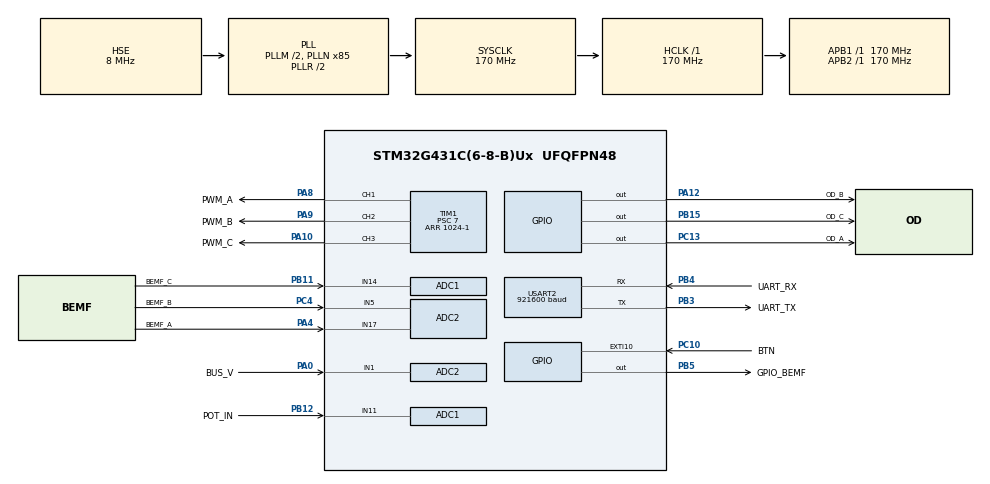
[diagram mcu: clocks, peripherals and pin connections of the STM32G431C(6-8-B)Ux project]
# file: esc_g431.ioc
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ADC1.Channel-0\#ChannelRegularConversion=ADC_CHANNEL_11
ADC1.Channel-1\#ChannelRegularConversion=ADC_CHANNEL_14
ADC1.ClockPrescaler=ADC_CLOCK_ASYNC_DIV64
ADC1.ContinuousConvMode=ENABLE
ADC1.DMAContinuousRequests=ENABLE
ADC1.EOCSelection=ADC_EOC_SEQ_CONV
ADC1.EnableInjectedConversion=ENABLE
ADC1.ExternalTrigInjecConv=ADC_EXTERNALTRIGINJEC_T1_TRGO2
ADC1.InjNumberOfConversion=1
ADC1.InjectedChannel-2\#ChannelInjectedConversion=ADC_CHANNEL_14
ADC1.InjectedOffsetNumber-2\#ChannelInjectedConversion=ADC_OFFSET_NONE
ADC1.InjectedRank-2\#ChannelInjectedConversion=1
ADC1.InjectedSamplingTime-2\#ChannelInjectedConversion=ADC_SAMPLETIME_12CYCLES_5
ADC1.NbrOfConversion=2
ADC1.NbrOfConversionFlag=1
ADC1.OffsetNumber-0\#ChannelRegularConversion=ADC_OFFSET_NONE
ADC1.OffsetNumber-1\#ChannelRegularConversion=ADC_OFFSET_NONE
ADC1.Rank-0\#ChannelRegularConversion=1
ADC1.Rank-1\#ChannelRegularConversion=2
ADC1.Rank1_Channel=ADC_CHANNEL_14
ADC1.SamplingTime-0\#ChannelRegularConversion=ADC_SAMPLETIME_12CYCLES_5
ADC1.SamplingTime-1\#ChannelRegularConversion=ADC_SAMPLETIME_12CYCLES_5
ADC1.master=1
ADC2.Channel-0\#ChannelRegularConversion=ADC_CHANNEL_1
ADC2.Channel-1\#ChannelRegularConversion=ADC_CHANNEL_5
ADC2.Channel-2\#ChannelRegularConversion=ADC_CHANNEL_17
ADC2.ClockPrescaler=ADC_CLOCK_ASYNC_DIV64
ADC2.ContinuousConvMode=ENABLE
ADC2.DMAContinuousRequests=ENABLE
ADC2.EOCSelection=ADC_EOC_SEQ_CONV
ADC2.EnableInjectedConversion=ENABLE
ADC2.ExternalTrigInjecConv=ADC_EXTERNALTRIGINJEC_T1_TRGO2
ADC2.InjNumberOfConversion=2
ADC2.InjectedChannel-3\#ChannelInjectedConversion=ADC_CHANNEL_5
ADC2.InjectedChannel-4\#ChannelInjectedConversion=ADC_CHANNEL_17
ADC2.InjectedOffsetNumber-3\#ChannelInjectedConversion=ADC_OFFSET_NONE
ADC2.InjectedOffsetNumber-4\#ChannelInjectedConversion=ADC_OFFSET_NONE
ADC2.InjectedRank-3\#ChannelInjectedConversion=1
ADC2.InjectedRank-4\#ChannelInjectedConversion=2
ADC2.InjectedSamplingTime-3\#ChannelInjectedConversion=ADC_SAMPLETIME_12CYCLES_5
ADC2.InjectedSamplingTime-4\#ChannelInjectedConversion=ADC_SAMPLETIME_12CYCLES_5
ADC2.NbrOfConversion=3
ADC2.NbrOfConversionFlag=1
ADC2.OffsetNumber-0\#ChannelRegularConversion=ADC_OFFSET_NONE
ADC2.OffsetNumber-1\#ChannelRegularConversion=ADC_OFFSET_NONE
ADC2.OffsetNumber-2\#ChannelRegularConversion=ADC_OFFSET_NONE
ADC2.Rank-0\#ChannelRegularConversion=1
ADC2.Rank-1\#ChannelRegularConversion=2
ADC2.Rank-2\#ChannelRegularConversion=3
ADC2.Rank1_Channel=ADC_CHANNEL_5
ADC2.Rank2_Channel=ADC_CHANNEL_17
ADC2.SamplingTime-0\#ChannelRegularConversion=ADC_SAMPLETIME_12CYCLES_5
ADC2.SamplingTime-1\#ChannelRegularConversion=ADC_SAMPLETIME_12CYCLES_5
ADC2.SamplingTime-2\#ChannelRegularConversion=ADC_SAMPLETIME_12CYCLES_5
Dma.ADC1.3.Direction=DMA_PERIPH_TO_MEMORY
Dma.ADC1.3.EventEnable=DISABLE
Dma.ADC1.3.Instance=DMA1_Channel4
Dma.ADC1.3.MemDataAlignment=DMA_MDATAALIGN_HALFWORD
Dma.ADC1.3.MemInc=DMA_MINC_ENABLE
Dma.ADC1.3.Mode=DMA_CIRCULAR
Dma.ADC1.3.PeriphDataAlignment=DMA_PDATAALIGN_HALFWORD
Dma.ADC1.3.PeriphInc=DMA_PINC_DISABLE
Dma.ADC1.3.Polarity=HAL_DMAMUX_REQ_GEN_RISING
Dma.ADC1.3.Priority=DMA_PRIORITY_LOW
Dma.ADC1.3.RequestNumber=1
Dma.ADC1.3.SignalID=NONE
Dma.ADC1.3.SyncEnable=DISABLE
Dma.ADC1.3.SyncPolarity=HAL_DMAMUX_SYNC_NO_EVENT
Dma.ADC1.3.SyncRequestNumber=1
Dma.ADC1.3.SyncSignalID=NONE
Dma.ADC2.4.Direction=DMA_PERIPH_TO_MEMORY
Dma.ADC2.4.EventEnable=DISABLE
Dma.ADC2.4.Instance=DMA1_Channel5
Dma.ADC2.4.MemDataAlignment=DMA_MDATAALIGN_HALFWORD
Dma.ADC2.4.MemInc=DMA_MINC_ENABLE
Dma.ADC2.4.Mode=DMA_CIRCULAR
Dma.ADC2.4.PeriphDataAlignment=DMA_PDATAALIGN_HALFWORD
Dma.ADC2.4.PeriphInc=DMA_PINC_DISABLE
Dma.ADC2.4.Polarity=HAL_DMAMUX_REQ_GEN_RISING
Dma.ADC2.4.Priority=DMA_PRIORITY_LOW
Dma.ADC2.4.RequestNumber=1
Dma.ADC2.4.SignalID=NONE
Dma.ADC2.4.SyncEnable=DISABLE
Dma.ADC2.4.SyncPolarity=HAL_DMAMUX_SYNC_NO_EVENT
Dma.ADC2.4.SyncRequestNumber=1
Dma.ADC2.4.SyncSignalID=NONE
Dma.Request0=TIM1_CH1
Dma.Request1=TIM1_CH2
Dma.Request2=TIM1_CH3
Dma.Request3=ADC1
Dma.Request4=ADC2
Dma.Request5=USART2_TX
Dma.TIM1_CH1.0.Direction=DMA_MEMORY_TO_PERIPH
Dma.TIM1_CH1.0.EventEnable=DISABLE
Dma.TIM1_CH1.0.Instance=DMA1_Channel1
Dma.TIM1_CH1.0.MemDataAlignment=DMA_MDATAALIGN_HALFWORD
Dma.TIM1_CH1.0.MemInc=DMA_MINC_ENABLE
Dma.TIM1_CH1.0.Mode=DMA_CIRCULAR
Dma.TIM1_CH1.0.PeriphDataAlignment=DMA_PDATAALIGN_HALFWORD
Dma.TIM1_CH1.0.PeriphInc=DMA_PINC_DISABLE
Dma.TIM1_CH1.0.Polarity=HAL_DMAMUX_REQ_GEN_RISING
Dma.TIM1_CH1.0.Priority=DMA_PRIORITY_VERY_HIGH
Dma.TIM1_CH1.0.RequestNumber=1
Dma.TIM1_CH1.0.SignalID=NONE
Dma.TIM1_CH1.0.SyncEnable=DISABLE
Dma.TIM1_CH1.0.SyncPolarity=HAL_DMAMUX_SYNC_NO_EVENT
Dma.TIM1_CH1.0.SyncRequestNumber=1
Dma.TIM1_CH1.0.SyncSignalID=NONE
Dma.TIM1_CH2.1.Direction=DMA_MEMORY_TO_PERIPH
Dma.TIM1_CH2.1.EventEnable=DISABLE
Dma.TIM1_CH2.1.Instance=DMA1_Channel2
Dma.TIM1_CH2.1.MemDataAlignment=DMA_MDATAALIGN_HALFWORD
Dma.TIM1_CH2.1.MemInc=DMA_MINC_ENABLE
Dma.TIM1_CH2.1.Mode=DMA_CIRCULAR
Dma.TIM1_CH2.1.PeriphDataAlignment=DMA_PDATAALIGN_HALFWORD
Dma.TIM1_CH2.1.PeriphInc=DMA_PINC_DISABLE
Dma.TIM1_CH2.1.Polarity=HAL_DMAMUX_REQ_GEN_RISING
Dma.TIM1_CH2.1.Priority=DMA_PRIORITY_VERY_HIGH
Dma.TIM1_CH2.1.RequestNumber=1
Dma.TIM1_CH2.1.SignalID=NONE
Dma.TIM1_CH2.1.SyncEnable=DISABLE
Dma.TIM1_CH2.1.SyncPolarity=HAL_DMAMUX_SYNC_NO_EVENT
Dma.TIM1_CH2.1.SyncRequestNumber=1
Dma.TIM1_CH2.1.SyncSignalID=NONE
Dma.TIM1_CH3.2.Direction=DMA_MEMORY_TO_PERIPH
Dma.TIM1_CH3.2.EventEnable=DISABLE
Dma.TIM1_CH3.2.Instance=DMA1_Channel3
Dma.TIM1_CH3.2.MemDataAlignment=DMA_MDATAALIGN_HALFWORD
Dma.TIM1_CH3.2.MemInc=DMA_MINC_ENABLE
Dma.TIM1_CH3.2.Mode=DMA_CIRCULAR
Dma.TIM1_CH3.2.PeriphDataAlignment=DMA_PDATAALIGN_HALFWORD
Dma.TIM1_CH3.2.PeriphInc=DMA_PINC_DISABLE
Dma.TIM1_CH3.2.Polarity=HAL_DMAMUX_REQ_GEN_RISING
Dma.TIM1_CH3.2.Priority=DMA_PRIORITY_VERY_HIGH
Dma.TIM1_CH3.2.RequestNumber=1
Dma.TIM1_CH3.2.SignalID=NONE
Dma.TIM1_CH3.2.SyncEnable=DISABLE
Dma.TIM1_CH3.2.SyncPolarity=HAL_DMAMUX_SYNC_NO_EVENT
Dma.TIM1_CH3.2.SyncRequestNumber=1
Dma.TIM1_CH3.2.SyncSignalID=NONE
Dma.USART2_TX.5.Direction=DMA_MEMORY_TO_PERIPH
Dma.USART2_TX.5.EventEnable=DISABLE
Dma.USART2_TX.5.Instance=DMA1_Channel6
Dma.USART2_TX.5.MemDataAlignment=DMA_MDATAALIGN_BYTE
Dma.USART2_TX.5.MemInc=DMA_MINC_ENABLE
Dma.USART2_TX.5.Mode=DMA_NORMAL
Dma.USART2_TX.5.PeriphDataAlignment=DMA_PDATAALIGN_BYTE
Dma.USART2_TX.5.PeriphInc=DMA_PINC_DISABLE
Dma.USART2_TX.5.Polarity=HAL_DMAMUX_REQ_GEN_RISING
Dma.USART2_TX.5.Priority=DMA_PRIORITY_HIGH
Dma.USART2_TX.5.RequestNumber=1
Dma.USART2_TX.5.SignalID=NONE
Dma.USART2_TX.5.SyncEnable=DISABLE
Dma.USART2_TX.5.SyncPolarity=HAL_DMAMUX_SYNC_NO_EVENT
Dma.USART2_TX.5.SyncRequestNumber=1
Dma.USART2_TX.5.SyncSignalID=NONE
Mcu.Family=STM32G4
Mcu.Name=STM32G431C(6-8-B)Ux
Mcu.Package=UFQFPN48
NVIC.ADC1_2_IRQn=true\:1\:0\:true\:false\:true\:true\:true\:true
NVIC.DMA1_Channel1_IRQn=true\:0\:0\:false\:false\:true\:false\:true\:true
NVIC.DMA1_Channel2_IRQn=true\:0\:0\:false\:false\:true\:false\:true\:true
NVIC.DMA1_Channel3_IRQn=true\:0\:0\:false\:false\:true\:false\:true\:true
NVIC.DMA1_Channel4_IRQn=true\:0\:0\:false\:false\:true\:true\:true\:true
NVIC.DMA1_Channel5_IRQn=true\:0\:0\:false\:false\:true\:true\:true\:true
NVIC.DMA1_Channel6_IRQn=true\:0\:0\:false\:false\:true\:true\:true\:true
NVIC.EXTI15_10_IRQn=true\:0\:0\:false\:false\:true\:true\:true\:true
NVIC.PriorityGroup=NVIC_PRIORITYGROUP_4
NVIC.TIM1_TRG_COM_TIM17_IRQn=true\:0\:0\:false\:false\:true\:true\:true\:true
NVIC.TIM2_IRQn=true\:0\:0\:false\:false\:true\:true\:true\:true
NVIC.TIM6_DAC_IRQn=true\:0\:0\:false\:false\:true\:true\:true\:true
NVIC.USART2_IRQn=true\:0\:0\:false\:false\:true\:true\:true\:true
PA0.GPIO_Label=BUS_V
PA0.Mode=IN1-Single-Ended
PA0.Signal=ADC2_IN1
PA10.GPIO_Label=PWM_C
PA10.GPIO_PuPd=GPIO_PULLDOWN
PA10.Signal=S_TIM1_CH3
PA12.GPIO_Label=OD_B
PA12.GPIO_PuPd=GPIO_PULLDOWN
PA12.Signal=GPIO_Output
PA13.GPIO_Label=TMS
PA13.Mode=Serial_Wire
PA13.Signal=SYS_JTMS-SWDIO
PA14.GPIO_Label=TCK
PA14.Mode=Serial_Wire
PA14.Signal=SYS_JTCK-SWCLK
PA4.GPIO_Label=BEMF_A
PA4.Mode=IN17-Single-Ended
PA4.Signal=ADC2_IN17
PA8.GPIO_Label=PWM_A
PA8.GPIO_PuPd=GPIO_PULLDOWN
PA8.Signal=S_TIM1_CH1
PA9.GPIO_Label=PWM_B
PA9.GPIO_PuPd=GPIO_PULLDOWN
PA9.Signal=S_TIM1_CH2
PB11.GPIO_Label=BEMF_C
PB11.Mode=IN14-Single-Ended
PB11.Signal=ADC1_IN14
PB12.GPIO_Label=POT_IN
PB12.Mode=IN11-Single-Ended
PB12.Signal=ADC1_IN11
PB15.GPIO_Label=OD_C
PB15.GPIO_PuPd=GPIO_PULLDOWN
PB15.Signal=GPIO_Output
PB3.GPIO_Label=UART_TX
PB3.Mode=Asynchronous
PB3.Signal=USART2_TX
PB4.GPIO_Label=UART_RX
PB4.Mode=Asynchronous
PB4.Signal=USART2_RX
PB5.GPIO_Label=GPIO_BEMF
PB5.GPIO_PuPd=GPIO_PULLDOWN
PB5.Signal=GPIO_Output
PC10.GPIO_Label=BTN
PC10.GPIO_ModeDefaultEXTI=GPIO_MODE_IT_FALLING
PC10.GPIO_PuPd=GPIO_NOPULL
PC10.Signal=GPXTI10
PC13.GPIO_Label=OD_A
PC13.GPIO_PuPd=GPIO_PULLDOWN
PC13.Signal=GPIO_Output
PC4.GPIO_Label=BEMF_B
PC4.Mode=IN5-Single-Ended
PC4.Signal=ADC2_IN5
PF0-OSC_IN.Mode=HSE-External-Oscillator
PF0-OSC_IN.Signal=RCC_OSC_IN
PF1-OSC_OUT.Mode=HSE-External-Oscillator
PF1-OSC_OUT.Signal=RCC_OSC_OUT
ProjectManager.HeapSize=0x200
ProjectManager.StackSize=0x400
ProjectManager.TargetToolchain=STM32CubeIDE
RCC.ADC12Freq_Value=170000000
RCC.AHBFreq_Value=170000000
RCC.APB1Freq_Value=170000000
RCC.APB1TimFreq_Value=170000000
RCC.APB2Freq_Value=170000000
RCC.APB2TimFreq_Value=170000000
RCC.CortexFreq_Value=170000000
RCC.EXTERNAL_CLOCK_VALUE=12288000
RCC.HCLKFreq_Value=170000000
RCC.HSE_VALUE=8000000
RCC.HSI48_VALUE=48000000
RCC.HSI_VALUE=16000000
RCC.LSE_VALUE=32768
RCC.PLLM=RCC_PLLM_DIV2
RCC.PLLN=85
RCC.PLLSourceVirtual=RCC_PLLSOURCE_HSE
RCC.SYSCLKFreq_VALUE=170000000
RCC.SYSCLKSource=RCC_SYSCLKSOURCE_PLLCLK
RCC.USBFreq_Value=170000000
RCC.VCOOutputFreq_Value=340000000
SH.S_TIM1_CH1.0=TIM1_CH1,PWM Generation1 CH1
SH.S_TIM1_CH2.0=TIM1_CH2,PWM Generation2 CH2
SH.S_TIM1_CH3.0=TIM1_CH3,PWM Generation3 CH3
TIM1.Channel-PWM\ Generation1\ CH1=TIM_CHANNEL_1
TIM1.Channel-PWM\ Generation2\ CH2=TIM_CHANNEL_2
TIM1.Channel-PWM\ Generation3\ CH3=TIM_CHANNEL_3
TIM1.Channel-PWM\ Generation4\ No\ Output=TIM_CHANNEL_4
TIM1.CounterMode=TIM_COUNTERMODE_CENTERALIGNED2
TIM1.PeriodNoDither=1024-1
TIM1.Prescaler=7
TIM1.PulseNoDither_4=100
TIM1.TIM_MasterOutputTrigger2=TIM_TRGO2_OC4REF
TIM17.Channel=TIM_CHANNEL_1
TIM17.PeriodNoDither=0xFFFF
TIM17.Prescaler=170 - 1
TIM2.Channel-Output\ Compare1\ No\ Output=TIM_CHANNEL_1
TIM2.PeriodNoDither=0xffffffff
TIM2.Prescaler=170-1
TIM6.PeriodNoDither=10000
TIM6.Prescaler=170-1
USART2.BaudRate=921600
USART2.VirtualMode-Asynchronous=VM_ASYNC
VP_SYS_VS_DBSignals.Mode=DisableDeadBatterySignals
VP_TIM17_VS_ClockSourceINT.Mode=Enable_Timer
VP_TIM17_VS_no_output1.Mode=Output Compare1 No Output
VP_TIM1_VS_no_output4.Mode=PWM Generation4 No Output
VP_TIM2_VS_ClockSourceINT.Mode=Internal
VP_TIM2_VS_no_output1.Mode=Output Compare1 No Output
VP_TIM6_VS_ClockSourceINT.Mode=Enable_Timer
board=custom

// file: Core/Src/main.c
/* USER CODE BEGIN Header */
/**
  ******************************************************************************
  * @file           : main.c
  * @brief          : Main program body
  ******************************************************************************
  * @attention
  *
  * Copyright (c) 2025 STMicroelectronics.
  * All rights reserved.
  *
  * This software is licensed under terms that can be found in the LICENSE file
  * in the root directory of this software component.
  * If no LICENSE file comes with this software, it is provided AS-IS.
  *
  ******************************************************************************
  */
/* USER CODE END Header */
#include "main.h"
#include "adc.h"
#include "dma.h"
#include "tim.h"
#include "usart.h"
#include "gpio.h"

/* USER CODE BEGIN Includes */
#include "stdio.h"
#include "string.h"
#include "stdarg.h"
/* USER CODE END Includes */

/* USER CODE BEGIN PTD */
								//===== USER TYPES =====//
typedef enum {
    MOTOR_STATE_IDLE = 0,
    MOTOR_STATE_STARTUP,
    MOTOR_STATE_SENSORLESS,
	MOTOR_STATE_UNDEFINED
} MotorState_t;

/* USER CODE END PTD */

/* USER CODE BEGIN PD */
								//===== USER DEFINES =====//
// ADC
#define adc_filter_len 		10
#define ADC_FULL_SCALE     	4095.0f
#define VDDA_VOLTS         	3.3f         // or measure via VREFINT for precision
#define BUS_DIV_RATIO       (18.0f / (169.0f + 18.0f))   // ≈ 0.01052
#define BEMF_DIV_RATIO	   	(2.2f / (10.0f + 2.2f))

// motor control
#define dmaPulse  		1
#define dmaPulseReload 	1023u - 200u // 200 is the window to measure floating phase to detect zero crossing.
#define BLANKING_US 	60u
#define ZC_VALID_US 	2u
#define ZC_HYST 		0.05f

/* USER CODE END PD */

/* USER CODE BEGIN PV */
								//===== USER GLOBAL VARS =====//
volatile MotorState_t motor_state = MOTOR_STATE_IDLE;
volatile MotorState_t motor_state_prev = MOTOR_STATE_UNDEFINED;
uint32_t poten_value = 0;
uint32_t poten_raw = 0;
uint8_t do_filter = 0;
uint16_t motorSpeed = 0;
uint16_t motorSpeedCurrent = 0;

uint32_t bus_raw = 0;
float bus_voltage = 0;

uint16_t bemf_a_raw = 0;
uint16_t bemf_b_raw = 0;
uint16_t bemf_c_raw = 0;

float bemf_a_voltage = 0;
float bemf_b_voltage = 0;
float bemf_c_voltage = 0;

float bemf_a_voltage_i = 0;
float bemf_b_voltage_i = 0;
float bemf_c_voltage_i = 0;

uint16_t adc1_buffer[2] = {0};
uint16_t adc2_buffer[3] = {0};

// for info check:
//https://github.com/guser210/ESC/blob/master/Code/ESC_V1.1/cpp/src/main.cpp

uint32_t blanking_start = 0;
uint8_t blanking_active = 0;

volatile uint16_t dmaBuffer[dmaPulse] = {0};
volatile uint16_t resolution = dmaPulse * dmaPulseReload;
volatile uint8_t powerStep = 0;
/*
 * step		0	1	2	3	4	5
 * H		A 	B -	B	C	C	A
			  /   	  \
 * O		B 	A 	C 	B 	A	C
						  \
 * L		C	C 	A 	A 	B -	B
 * */

// define off phase rising array
// B will rise, A will fall, C will rise ...
const uint8_t risig[6] = {1,0,1,0,1,0};
// odLow port
GPIO_TypeDef *odLowPort[6] = {
		OD_C_GPIO_Port,
		OD_C_GPIO_Port,
		OD_A_GPIO_Port,
		OD_A_GPIO_Port,
		OD_B_GPIO_Port,
		OD_B_GPIO_Port
};
// odLow pin
const uint16_t odLowPin[6] = {
		OD_C_Pin,
		OD_C_Pin,
		OD_A_Pin,
		OD_A_Pin,
		OD_B_Pin,
		OD_B_Pin
};

// odHigh port
GPIO_TypeDef *odHighPort[6] = {
		OD_A_GPIO_Port,
		OD_B_GPIO_Port,
		OD_B_GPIO_Port,
		OD_C_GPIO_Port,
		OD_C_GPIO_Port,
		OD_A_GPIO_Port
};
// odHigh pin
const uint16_t odHighPin[6] = {
		OD_A_Pin,
		OD_B_Pin,
		OD_B_Pin,
		OD_C_Pin,
		OD_C_Pin,
		OD_A_Pin
};

// odOff port
GPIO_TypeDef *odOffPort[6] = {
		OD_B_GPIO_Port,
		OD_A_GPIO_Port,
		OD_C_GPIO_Port,
		OD_B_GPIO_Port,
		OD_A_GPIO_Port,
		OD_C_GPIO_Port
};
// odOff pin
const uint16_t odOffPin[6] = {
		OD_B_Pin,
		OD_A_Pin,
		OD_C_Pin,
		OD_B_Pin,
		OD_A_Pin,
		OD_C_Pin
};

// G4 reference manual : TIMx capture/compare enable register (TIMx_CCER)(x = 1, 8, 20)
// A CC1E = 0, B CC2E = 4, C CC3E = 8
// BACBAC
const uint32_t ccOff[6] = {
		TIM_CCER_CC2E,
		TIM_CCER_CC1E,
		TIM_CCER_CC3E,
		TIM_CCER_CC2E,
		TIM_CCER_CC1E,
		TIM_CCER_CC3E
};

// G4 reference manual : TIMx DMA/interrupt enable register (TIMx_DIER)(x = 1, 8, 20)
// A CC1DE = 9, B CC2DE = 10, C CC3DE = 11
// BACBAC
const uint32_t diOff[6] = {
		TIM_DIER_CC2DE,
		TIM_DIER_CC1DE,
		TIM_DIER_CC3DE,
		TIM_DIER_CC2DE,
		TIM_DIER_CC1DE,
		TIM_DIER_CC3DE
};

// G4 reference manual : TIMx capture/compare enable register (TIMx_CCER)(x = 1, 8, 20)
// A CC1E = 0, B CC2E = 4, C CC3E = 8
// BACBAC
const uint32_t ccHigh[6] = {
		TIM_CCER_CC1E,
		TIM_CCER_CC2E,
		TIM_CCER_CC2E,
		TIM_CCER_CC3E,
		TIM_CCER_CC3E,
		TIM_CCER_CC1E
};

// G4 reference manual : TIMx DMA/interrupt enable register (TIMx_DIER)(x = 1, 8, 20)
// A CC1DE = 9, B CC2DE = 10, C CC3DE = 11
// BACBAC
const uint32_t diHigh[6] = {
		TIM_DIER_CC1DE,
		TIM_DIER_CC2DE,
		TIM_DIER_CC2DE,
		TIM_DIER_CC3DE,
		TIM_DIER_CC3DE,
		TIM_DIER_CC1DE
};

/* USER CODE END PV */

void SystemClock_Config(void);

/* USER CODE BEGIN 0 */
								//===== USER FUNCTIONS =====//

int _write(int file, char *ptr, int len)
{
  (void)file;
  int DataIdx;

  for (DataIdx = 0; DataIdx < len; DataIdx++)
  {
    ITM_SendChar(*ptr++);
  }
  return len;
}

void uart_printf(const char *fmt, ...)
{
    char buffer[128];
    va_list args;
    va_start(args, fmt);
    vsnprintf(buffer, sizeof(buffer), fmt, args);
    va_end(args);

    HAL_UART_Transmit(&huart2, (uint8_t*)buffer, strlen(buffer), HAL_MAX_DELAY);
}

void HAL_ADC_ConvCpltCallback(ADC_HandleTypeDef* hadc)
{
	if ( hadc == &hadc1 )
	{
		// CH11: POTENTIOMETER
		// CH14: BEMFC
		poten_raw = adc1_buffer[0];
		// to avoid filtering in interrupt context.
		do_filter = 1;
	}
	else if( hadc == &hadc2 )
	{
		// CH1: BUS VOLTAGE
		// CH5: BEMFB
		// CH17: BEMFA
		bus_raw = adc2_buffer[0];
		bus_voltage = (bus_raw/ADC_FULL_SCALE) * VDDA_VOLTS;
		bus_voltage = bus_voltage/BUS_DIV_RATIO;
	}
}

/*
 * step		0	1	2	3	4	5
 * H		A 	B  	B	C	C	A
 * O		B 	A 	C 	B 	A	C
 * L		C	C 	A 	A 	B  	B
 * */
void HAL_ADCEx_InjectedConvCpltCallback(ADC_HandleTypeDef *hadc)
{
    if(hadc == &hadc1)
    {
    	// CH14: BEMFC
    	if (powerStep == 2 || powerStep == 5)
    	{
            uint32_t raw = HAL_ADCEx_InjectedGetValue(&hadc1, ADC_INJECTED_RANK_1);
            bemf_c_voltage_i = (raw / ADC_FULL_SCALE) * VDDA_VOLTS / BEMF_DIV_RATIO;
    	}
    }
    if(hadc == &hadc2)
    {
    	// CH5: BEMFB
    	if (powerStep == 0 || powerStep == 3)
    	{
    		uint32_t raw = HAL_ADCEx_InjectedGetValue(&hadc2, ADC_INJECTED_RANK_1);
    		bemf_b_voltage_i = (raw / ADC_FULL_SCALE) * VDDA_VOLTS / BEMF_DIV_RATIO;
    	}

        // CH17: BEMFA
        if (powerStep == 1 || powerStep == 4)
        {
        	uint32_t raw = HAL_ADCEx_InjectedGetValue(&hadc2, ADC_INJECTED_RANK_2);
			bemf_a_voltage_i = (raw / ADC_FULL_SCALE) * VDDA_VOLTS / BEMF_DIV_RATIO;
        }
    }
}

// filter and normalize
void poten_filter_normalize()
{
  static uint32_t buff[adc_filter_len]= {0};
  static uint8_t i = 0;
  static uint32_t sum = 0;

	// filter
	sum -=buff[i];
	buff[i] = poten_raw;
	sum += buff[i];
	i = (i + 1) % adc_filter_len;
	uint32_t avg = sum/adc_filter_len;

	// normalize
	poten_value = avg * 1023 / 4095;
}

uint32_t blk_cnt = 50;
void setDutyCycle(uint16_t dc)
{
	if (dc > resolution) dc = resolution;

	dmaBuffer[0] = dc;
	TIM1->CCR1 = dc;

	TIM1->CCR4 = motorSpeedCurrent + ( (1023 - motorSpeedCurrent) / 20);
}

uint8_t zc_detected = 0;
void commutate()
{
	__disable_irq();

	// got to next step
	powerStep = (powerStep + 1)%6;

	if (risig[powerStep])
	{
		/*
		 * step		0	1	2	3	4	5
		 * H		A 	B  	B	C	C	A
		 * O		B 	A 	C 	B 	A	C
		 * L		C	C 	A 	A 	B  	B
		 *
		 * 			STEP 2  is good example for rising (C on the way up)
		 * 			- C was low - turn it off
		 * 			- A was Off - turn it low
		 * */

		// enable low phase, that was off the previous step.
		odLowPort[powerStep]->BSRR = odLowPin[powerStep];

		// disable off phase, that was low the previous step.
		odOffPort[powerStep]->BRR  = odOffPin[powerStep];
	}
	else
	{
		/*
		 * step		0	1	2	3	4	5
		 * H		A 	B  	B	C	C	A
		 * O		B 	A 	C 	B 	A	C
		 * L		C	C 	A 	A 	B  	B
		 *
		 * 			STEP 3 is good example for falling (B on the way down)
		 * 			- B was high - turn it off
		 * 			- C was off  - turn it high
		 * */

		// disable off phase, that was high before.
		TIM1->CCER &= ~(ccOff[powerStep]);
		TIM1->DIER &= ~(diOff[powerStep]);

		// enable high phase, that was off before.
		TIM1->CCER |= (ccHigh[powerStep]); // enable capture/compare
		TIM1->DIER |= (diHigh[powerStep]); // enable dma
	}

	// set up delay of 5 us
	//blanking_start = TIM7->CNT;
	//blanking_active = 1;

	// reset tim6 for pumb motor.
	TIM6->CNT = 0;
	zc_detected = 0;

	__enable_irq();
}

uint32_t com_exe = 0;
void HAL_TIM_OC_DelayElapsedCallback(TIM_HandleTypeDef *htim)
{
	if( (htim->Instance == TIM17) && (htim->Channel == HAL_TIM_ACTIVE_CHANNEL_1) )
	{
		if( motorSpeedCurrent > 0 )
		{
				commutate();
				// stop one-shot, this is coming a short while after detecting zc
				HAL_TIM_OC_Stop_IT(&htim17, TIM_CHANNEL_1);
				com_exe +=1;

		}
	}
}

uint16_t startup_period = 5000;
void HAL_TIM_PeriodElapsedCallback(TIM_HandleTypeDef *htim)
{
	if(htim->Instance == TIM6)
	{
		commutate();
		//__HAL_TIM_SET_AUTORELOAD(&htim6, startup_period);
	}
}

uint32_t debounce_delay = 600;
uint32_t last_button_press = 0;
uint32_t timer_on = 0;
void HAL_GPIO_EXTI_Callback(uint16_t GPIO_Pin)
{

    if (GPIO_Pin == BTN_Pin)
    {
        uint32_t now = HAL_GetTick();
        if ((now - last_button_press) > debounce_delay)
        {
            last_button_press = now;

            //commutate();
            if(timer_on == 0)
            {
            	HAL_TIM_Base_Start_IT(&htim6);
            	timer_on = 1;
            }
            else
            {
            	HAL_TIM_Base_Stop_IT(&htim6);
				timer_on = 0;
            }

        }
    }

}

uint32_t zc_time = 0;
uint32_t zc_period = 0;      // time between zero crossings
uint32_t us_timer = 0;

uint32_t pending_ctr = 0;
uint32_t reverted_ctr = 0;
uint32_t detected_ctr = 0;
uint32_t com_ordered = 0;
/* USER CODE END 0 */

int main(void)
{

  /* MCU Configuration--------------------------------------------------------*/

  /* Reset of all peripherals, Initializes the Flash interface and the Systick. */
  HAL_Init();

  /* Configure the system clock */
  SystemClock_Config();

  /* Initialize all configured peripherals */
  MX_GPIO_Init();
  MX_DMA_Init();
  MX_USART2_UART_Init();
  MX_ADC1_Init();
  MX_ADC2_Init();
  MX_TIM1_Init();
  MX_TIM17_Init();
  MX_TIM6_Init();
  MX_TIM2_Init();
  /* USER CODE BEGIN 2 */

  /*
   * TIM1 for pwm
   * TIM2 us timer, waiting after zc detection to commutate.
   * TIM6 pumb up motor.
   * */

  // start adc for potentiometer
  HAL_ADCEx_Calibration_Start(&hadc1, ADC_SINGLE_ENDED);
  HAL_ADC_Start_DMA(&hadc1, (uint32_t*)adc1_buffer, 2);
  // start adc for bus voltage
  HAL_ADCEx_Calibration_Start(&hadc2, ADC_SINGLE_ENDED);
  HAL_ADC_Start_DMA(&hadc2, (uint32_t*)adc2_buffer, 3);

  HAL_ADCEx_InjectedStart_IT(&hadc1);
  HAL_ADCEx_InjectedStart_IT(&hadc2);

  // us timer
  // take time between zc,
  // wait before next commutation.
  if( HAL_TIM_Base_Start(&htim2) != HAL_OK)
	  Error_Handler();

  // pwm timer
  if( HAL_TIM_Base_Start(&htim1) != HAL_OK)
	  Error_Handler();

  TIM1->CCR1 = 0;
  TIM1->CCR2 = 0;
  TIM1->CCR3 = 0;

  HAL_TIM_PWM_Start(&htim1, TIM_CHANNEL_1);
  HAL_TIM_PWM_Start(&htim1, TIM_CHANNEL_2);
  HAL_TIM_PWM_Start(&htim1, TIM_CHANNEL_3);

  HAL_TIM_PWM_Stop_DMA(&htim1, TIM_CHANNEL_1);
  HAL_TIM_PWM_Stop_DMA(&htim1, TIM_CHANNEL_2);
  HAL_TIM_PWM_Stop_DMA(&htim1, TIM_CHANNEL_3);

  HAL_TIM_PWM_Start_DMA(&htim1, TIM_CHANNEL_1, (uint32_t*)dmaBuffer, dmaPulse);
  HAL_TIM_PWM_Start_DMA(&htim1, TIM_CHANNEL_2, (uint32_t*)dmaBuffer, dmaPulse);
  HAL_TIM_PWM_Start_DMA(&htim1, TIM_CHANNEL_3, (uint32_t*)dmaBuffer, dmaPulse);

  uint16_t startup_period = 5000;
  __HAL_TIM_SET_AUTORELOAD(&htim6, startup_period);

  MX_USART2_UART_Init();
  setDutyCycle(200);

  HAL_TIM_Base_Start(&htim17);
  /* USER CODE END 2 */

  /* Infinite loop */
  /* USER CODE BEGIN WHILE */
  float bemf = 0;
  float bemf_prev = 0;
  float bemf_filtered = 0;
  float half_bus = bus_voltage/2.0f;
  float half_bus_l = 0;
  float half_bus_h = 0;
  uint32_t zc_time_prev = 0;   // previous zero-crossing time
  uint8_t zc_pending = 0;
  uint32_t zc_timer_start = 0;
  uint8_t rising = 0;
  uint8_t powerStep_prev = powerStep;
  while (1)
  {
	  us_timer = TIM2->CNT;
	  if( do_filter )
	  {
		  poten_filter_normalize();
		  do_filter = 0;
		  motorSpeed = poten_value;

		  if (motorSpeed != motorSpeedCurrent)
		  {
			  if ( (motorSpeed - motorSpeedCurrent) > 20)
			  {
				  motorSpeedCurrent += 20;
			  }
			  else
			  {
				  motorSpeedCurrent = motorSpeed;
			  }
			  setDutyCycle(motorSpeedCurrent);
		  }
	  }

	  switch(powerStep)
	  {
		  case 0:
			  bemf = bemf_b_voltage_i;
			  break;
		  case 1:
			  bemf = bemf_a_voltage_i;
			  break;
		  case 2:
			  bemf = bemf_c_voltage_i;
			  break;
		  case 3:
			  bemf = bemf_b_voltage_i;
			  break;
		  case 4:
			  bemf = bemf_a_voltage_i;
			  break;
		  case 5:
			  bemf = bemf_c_voltage_i;
			  break;
	  }
	  if (powerStep_prev != powerStep)
	  {
		  bemf_filtered = 0;
		  powerStep_prev = powerStep;
	  }
	//uart_printf("%c - %u - %.2f - %.2f \r\n", phase, blanking_active, bemf,  half_bus );
	  bemf_filtered = 0.0f * bemf_filtered + 1.0f * bemf;
	  half_bus = bus_voltage/2.0f;
	  half_bus_l = half_bus - ZC_HYST*bus_voltage;
	  half_bus_h = half_bus + ZC_HYST*bus_voltage;

	  // this zc detection logic needs alot of work.
	  if (!zc_detected && !zc_pending)
	  {
		  if (bemf_prev < half_bus_h && bemf_filtered >= half_bus_h)
		  {
			  rising = 1;
			  // possible ZC, start validation window
			  zc_pending = 1;
			  zc_timer_start = TIM2->CNT;
			  pending_ctr +=1;
		  }
		  else if (bemf_prev > half_bus_l && bemf_filtered <= half_bus_l)
		  {
			  rising = 0;
			  // possible ZC, start validation window
			  zc_pending = 1;
			  zc_timer_start = TIM2->CNT;
			  pending_ctr +=1;
		  }
	  }

	  if (zc_pending)
	  {
		  uint32_t elapsed = (TIM2->CNT - zc_timer_start);

		  if (elapsed >= ZC_VALID_US)
		  {
			  // validation time expired, confirm stable
			  zc_detected = 1;
			  zc_pending = 0;
			  detected_ctr += 1;
		  }
		  else
		  {
			  // if crossing reverted, cancel
			  if ( ((rising == 1) && bemf_filtered < half_bus_l) ||
				   ((rising == 0) && bemf_filtered > half_bus_h))
			  {
				  zc_pending = 0;
				  reverted_ctr +=1;
			  }
		  }
	  }
	  bemf_prev = bemf_filtered;

	  if(zc_detected)
	  {
		  zc_time = TIM2->CNT;

		  // compute time between last zero crossing and current one
		  if(zc_time_prev != 0)
		  {
			  // Compute period with overflow handling
			  zc_period = (zc_time - zc_time_prev);
		  }
		  zc_time_prev = zc_time; // update for next ZC

		  // start commutation slightly after zero crossing
		  // for simplicity, we use half of the ZC period
		  if(zc_period > 0)
		  {
			  uint32_t pulse = TIM17->CNT + (zc_period/2);
			  __HAL_TIM_SET_COMPARE(&htim17, TIM_CHANNEL_1, pulse);
			  HAL_TIM_OC_Start_IT(&htim17, TIM_CHANNEL_1); // enable OC interrupt

			  com_ordered+=1;
		  }
	  }

    /* USER CODE END WHILE */

  }
}

void SystemClock_Config(void)
{
  RCC_OscInitTypeDef RCC_OscInitStruct = {0};
  RCC_ClkInitTypeDef RCC_ClkInitStruct = {0};

  /** Configure the main internal regulator output voltage
  */
  HAL_PWREx_ControlVoltageScaling(PWR_REGULATOR_VOLTAGE_SCALE1_BOOST);

  /** Initializes the RCC Oscillators according to the specified parameters
  * in the RCC_OscInitTypeDef structure.
  */
  RCC_OscInitStruct.OscillatorType = RCC_OSCILLATORTYPE_HSE;
  RCC_OscInitStruct.HSEState = RCC_HSE_ON;
  RCC_OscInitStruct.PLL.PLLState = RCC_PLL_ON;
  RCC_OscInitStruct.PLL.PLLSource = RCC_PLLSOURCE_HSE;
  RCC_OscInitStruct.PLL.PLLM = RCC_PLLM_DIV2;
  RCC_OscInitStruct.PLL.PLLN = 85;
  RCC_OscInitStruct.PLL.PLLP = RCC_PLLP_DIV2;
  RCC_OscInitStruct.PLL.PLLQ = RCC_PLLQ_DIV2;
  RCC_OscInitStruct.PLL.PLLR = RCC_PLLR_DIV2;
  if (HAL_RCC_OscConfig(&RCC_OscInitStruct) != HAL_OK)
  {
    Error_Handler();
  }

  /** Initializes the CPU, AHB and APB buses clocks
  */
  RCC_ClkInitStruct.ClockType = RCC_CLOCKTYPE_HCLK|RCC_CLOCKTYPE_SYSCLK
                              |RCC_CLOCKTYPE_PCLK1|RCC_CLOCKTYPE_PCLK2;
  RCC_ClkInitStruct.SYSCLKSource = RCC_SYSCLKSOURCE_PLLCLK;
  RCC_ClkInitStruct.AHBCLKDivider = RCC_SYSCLK_DIV1;
  RCC_ClkInitStruct.APB1CLKDivider = RCC_HCLK_DIV1;
  RCC_ClkInitStruct.APB2CLKDivider = RCC_HCLK_DIV1;

  if (HAL_RCC_ClockConfig(&RCC_ClkInitStruct, FLASH_LATENCY_4) != HAL_OK)
  {
    Error_Handler();
  }
}

void Error_Handler(void)
{
  __disable_irq();
  while (1)
  {
  }
}
